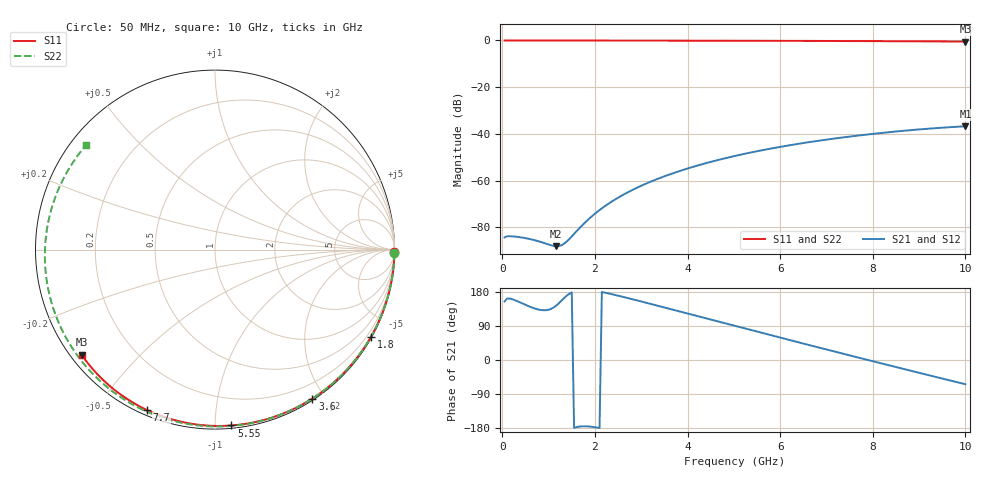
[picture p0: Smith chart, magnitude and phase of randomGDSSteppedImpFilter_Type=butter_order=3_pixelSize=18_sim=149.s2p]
! freq	dB(S11)	phase(S11)	dB(S12)	phase(S12)
!  dB(S21)	phase(S21)	dB(S22)	phase(S22)
!S-par simulation data
#  GHz  S  DB  R 50
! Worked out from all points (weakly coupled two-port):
!   200 points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, 50 MHz to 10 GHz, reference 50 ohm
!   highest |S21| = -36.76 dB at 10 GHz (marker M1); lowest = -88.1 dB at 1.15 GHz (marker M2)
!   lowest |S11| = -0.5 dB at 10 GHz (marker M3), VSWR 36.22, Z = 1.55 - j17.3 ohm
!   |S11| at or under -10 dB: nowhere
!   |S22| runs from -0.7 to 0.0 dB; largest |S21 - S12| = 0
!   S11 on the Smith chart (normalised r, x): 50 MHz: open; 1.8 GHz: 0.03, -3.85; 3.6 GHz: 0.02, -1.85; 5.55 GHz: 0.02, -1.10; 7.7 GHz: 0.02, -0.66; 10 GHz: 0.03, -0.35
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0.05  -0.00 -0.8  -84.35 154.4  -84.35 154.4  -0.00 -1.1
0.6  -0.01 -9.8  -85.07 140.4  -85.07 140.4  -0.01 -13.7
1.15  -0.02 -18.7  -88.10 142.1  -88.10 142.1  -0.03 -26.0
1.65  -0.03 -26.7  -80.72 -175.9  -80.72 -175.9  -0.05 -37.1
1.7  -0.03 -27.5  -79.69 -175.2  -79.69 -175.2  -0.05 -38.1
1.75  -0.04 -28.3  -78.68 -174.9  -78.68 -174.9  -0.05 -39.2
1.8  -0.04 -29.1  -77.72 -174.9  -77.72 -174.9  -0.05 -40.3
2.15  -0.04 -34.6  -71.89 179.4  -71.89 179.4  -0.06 -47.9
2.5  -0.05 -40.1  -67.34 169.8  -67.34 169.8  -0.07 -55.5
2.9  -0.06 -46.3  -63.15 157.6  -63.15 157.6  -0.08 -63.9
3.4  -0.07 -53.9  -58.92 141.8  -58.92 141.8  -0.10 -74.4
3.6  -0.08 -56.8  -57.46 135.4  -57.46 135.4  -0.11 -78.5
4.3  -0.10 -67.1  -53.09 113.1  -53.09 113.1  -0.13 -92.7
5.05  -0.12 -77.8  -49.34 89.3  -49.34 89.3  -0.17 -107.6
5.55  -0.14 -84.7  -47.24 73.4  -47.24 73.4  -0.20 -117.5
6.7  -0.19 -100.1  -43.32 37.1  -43.32 37.1  -0.28 -140.4
7.7  -0.26 -113.0  -40.69 6.0  -40.69 6.0  -0.37 -161.3
8.35  -0.31 -121.2  -39.28 -14.0  -39.28 -14.0  -0.45 -175.8
8.8  -0.35 -126.9  -38.44 -27.8  -38.44 -27.8  -0.51 173.5
9.2  -0.39 -131.8  -37.79 -39.9  -37.79 -39.9  -0.56 163.4
9.6  -0.43 -136.8  -37.22 -52.0  -37.22 -52.0  -0.62 152.6
10  -0.48 -141.8  -36.76 -63.9  -36.76 -63.9  -0.68 141.1
